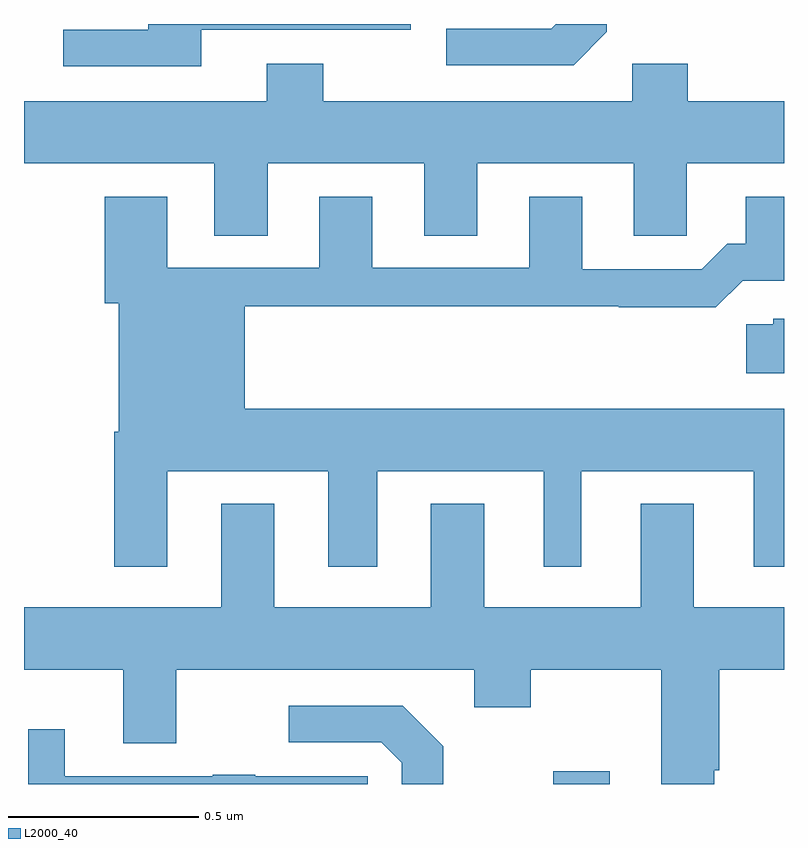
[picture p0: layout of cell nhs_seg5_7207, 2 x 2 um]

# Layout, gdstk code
import gdstk
lib = gdstk.Library(unit=1e-6, precision=1e-09)
def R(c, l, rs):  # rectangles x0, y0, x1, y1
    for r in rs: c.add(gdstk.rectangle(r[:2], r[2:], *l))
def P(c, l, *ps):  # polygons
    for p in ps: c.add(gdstk.Polygon(p, *l))
L2000_40 = (2000, 40)

nhs_seg5_7207 = lib.new_cell('nhs_seg5_7207')
R(nhs_seg5_7207, L2000_40, [(207.393,849.799,207.541,849.832)])
P(nhs_seg5_7207, L2000_40, [(207.534,851.778),(207.534,851.799),(207.399,851.799),(207.387,851.787),(207.111,851.787),(207.111,851.691),(207.447,851.691)],
  [(206.467,851.784),(207.018,851.784),(207.018,851.799),(206.327,851.799),(206.327,851.784),(206.103,851.784),(206.103,851.688),(206.467,851.688)],
  [(206.641,851.432),(207.053,851.432),(207.053,851.242),(207.193,851.242),(207.193,851.432),(207.605,851.432),(207.605,851.242),(207.744,851.242),(207.744,851.432),(208,851.432),(208,851.596),(207.747,851.596),(207.747,851.695),(207.6,851.695),(207.6,851.596),(206.787,851.596),(206.787,851.695),(206.639,851.695),(206.639,851.596),(206,851.596),(206,851.432),(206.501,851.432),(206.501,851.242),(206.641,851.242)],
  [(206.377,850.622),(206.801,850.622),(206.801,850.371),(206.929,850.371),(206.929,850.622),(207.368,850.622),(207.368,850.371),(207.466,850.371),(207.466,850.622),(207.92,850.622),(207.92,850.371),(208,850.371),(208,850.786),(206.581,850.786),(206.581,851.056),(207.565,851.056),(207.565,851.054),(207.821,851.054),(207.891,851.124),(208,851.124),(208,851.344),(207.899,851.344),(207.899,851.221),(207.85,851.221),(207.783,851.154),(207.469,851.154),(207.469,851.344),(207.329,851.344),(207.329,851.157),(206.917,851.157),(206.917,851.344),(206.777,851.344),(206.777,851.157),(206.377,851.157),(206.377,851.344),(206.213,851.344),(206.213,851.064),(206.249,851.064),(206.249,850.726),(206.237,850.726),(206.237,850.371),(206.377,850.371)],
  [(208,851.023),(207.972,851.023),(207.972,851.009),(207.9,851.009),(207.9,850.88),(208,850.88)],
  [(207.817,849.835),(207.83,849.835),(207.83,850.1),(208,850.1),(208,850.264),(207.763,850.264),(207.763,850.537),(207.623,850.537),(207.623,850.264),(207.211,850.264),(207.211,850.537),(207.071,850.537),(207.071,850.264),(206.659,850.264),(206.659,850.537),(206.519,850.537),(206.519,850.264),(206,850.264),(206,850.1),(206.261,850.1),(206.261,849.906),(206.401,849.906),(206.401,850.1),(207.185,850.1),(207.185,850.001),(207.333,850.001),(207.333,850.1),(207.677,850.1),(207.677,849.799),(207.817,849.799)],
  [(207.103,849.899),(206.997,850.005),(206.697,850.005),(206.697,849.909),(206.94,849.909),(206.994,849.855),(206.994,849.799),(207.103,849.799)],
  [(206.904,849.819),(206.609,849.819),(206.609,849.824),(206.497,849.824),(206.497,849.819),(206.107,849.819),(206.107,849.943),(206.011,849.943),(206.011,849.799),(206.904,849.799)])

lib.write_gds('nhs_seg5_7207.gds')
